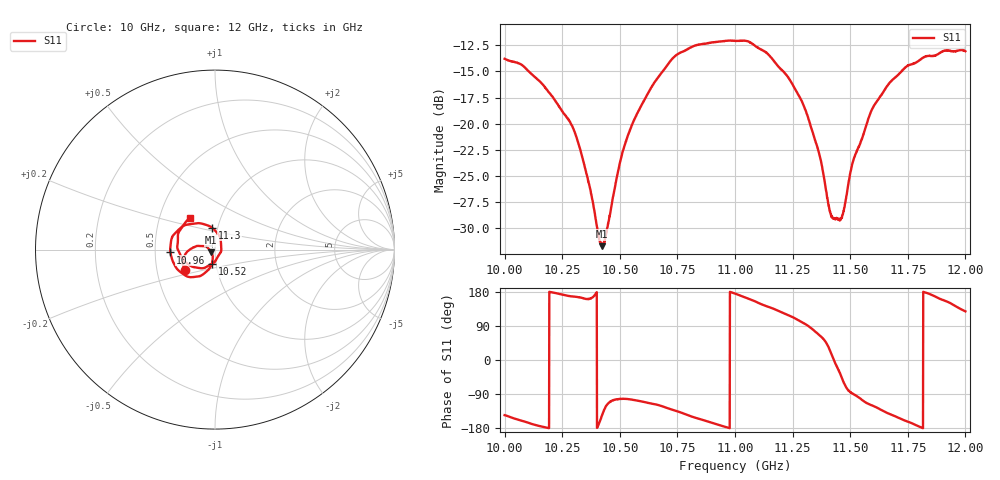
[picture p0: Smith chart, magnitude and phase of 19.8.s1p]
[Version] 2.0
! Rohde & Schwarz Vector Network Analyzer
! Rohde-Schwarz,ZNL20-2Port,1323001220200009,1.71.1.10-23.02.1.238
! Port Assignments:
! Nominal Port -> Actual Test Port
!  1 -> 1
! Created: GMT 2024-08-27 12:56:48
# Hz S DB R 50
[Number of Ports] 1
! freq[Hz]  S11[mag dB]  S11[ang]
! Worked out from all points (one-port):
!   2001 points, 10 GHz to 12 GHz, reference 50 ohm
!   lowest |S11| = -31.7 dB at 10.42 GHz (marker M1), VSWR 1.05, Z = 47.9 - j1.4 ohm
!   |S11| at or under -10 dB: start of sweep to end of sweep
!   S11 on the Smith chart (normalised r, x): 10 GHz: 0.70, -0.17; 10.52 GHz: 0.95, -0.15; 10.96 GHz: 0.60, -0.02; 11.3 GHz: 0.94, +0.23; 12 GHz: 0.72, +0.26
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[Number of Frequencies] 28
[Network Data]
1e10  -13.80 -145.6
1.0086e10  -14.58 -162.3
1.025e10  -18.80 172.6
1.0289e10  -20.09 168.1
1.0321e10  -21.93 165.6
1.037e10  -26.10 161.6
1.041e10  -31.01 -167.1
1.0423e10  -31.71 -145.7
1.0441e10  -30.50 -120.7
1.05e10  -23.77 -102.7
1.0524e10  -21.86 -102.6
1.0633e10  -16.69 -114.6
1.075e10  -13.37 -135.5
1.0957e10  -12.08 -176.3
1.1e10  -12.09 175.3
1.1133e10  -13.15 142.7
1.125e10  -16.24 113.2
1.1296e10  -18.18 97.8
1.1364e10  -22.76 66.5
1.1409e10  -28.12 29.3
1.1424e10  -29.00 7.5
1.1464e10  -29.00 -47.0
1.15e10  -24.73 -84.8
1.16e10  -18.41 -121.2
1.167e10  -16.11 -142.1
1.175e10  -14.47 -162.7
1.1905e10  -13.05 157.8
1.2e10  -13.07 128.3
[End]
